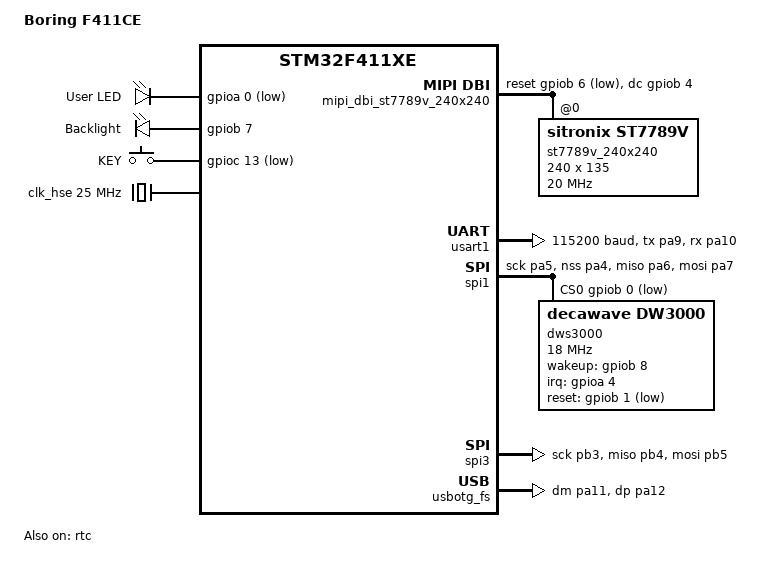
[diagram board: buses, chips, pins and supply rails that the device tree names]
/*
 * Copyright (c) 2020 Brian Bradley <brian.bradley.p@gmail.com>
 * Copyright (c) 2021 Kalyan Sriram <coder.kalyan@gmail.com>
 *
 * SPDX-License-Identifier: Apache-2.0
 */

/dts-v1/;
#include <st/f4/stm32f411Xe.dtsi>
#include <st/f4/stm32f411c(c-e)ux-pinctrl.dtsi>
#include <zephyr/dt-bindings/input/input-event-codes.h>
#include <zephyr/dt-bindings/mipi_dbi/mipi_dbi.h>
#include <zephyr/dt-bindings/display/panel.h>

/ {
	model = "Boring F411CE";
	compatible = "boring,boring_f411ce";

	chosen {
		// zephyr,console = &usart1;
		// zephyr,shell-uart = &usart1;
		zephyr,console = &cdc_acm_uart0;
		zephyr,shell-uart = &cdc_acm_uart0;
		zephyr,sram = &sram0;
		zephyr,flash = &flash0;
		zephyr,display = &st7789v_240x240;
		zephyr,code-partition = &slot0_partition;
	};

	leds {
		compatible = "gpio-leds";
		user_led: led {
			gpios = <&gpioa 0 GPIO_ACTIVE_LOW>;
			label = "User LED";
		};

		lcd_bl: led_backlight {
			gpios = <&gpiob 7 GPIO_ACTIVE_HIGH>;
			label = "Backlight";
		};
	};

	gpio_keys {
		compatible = "gpio-keys";
		user_button: button {
			label = "KEY";
			gpios = <&gpioc 13 (GPIO_ACTIVE_LOW | GPIO_PULL_UP)>;
			zephyr,code = <INPUT_KEY_0>;
		};
	};

	aliases {
		led0 = &user_led;
		sw0 = &user_button;
		volt-sensor0 = &vref;
		volt-sensor1 = &vbat;
		backlight = &lcd_bl;
	};

	mipi_dbi_st7789v_240x240 {
		compatible = "zephyr,mipi-dbi-spi";
		spi-dev = <&spi3>;
		dc-gpios = <&gpiob 4 GPIO_ACTIVE_HIGH>;
		reset-gpios = <&gpiob 6 GPIO_ACTIVE_LOW>;
		write-only;
		#address-cells = <1>;
		#size-cells = <0>;

		st7789v_240x240: st7789v@0 {
			compatible = "sitronix,st7789v";
			reg = <0>;
			mipi-max-frequency = <20000000>;

			width = <240>;
			height = <135>;
			x-offset = <40>;
			y-offset = <53>;

			vcom = <0x19>;
			gctrl = <0x35>;
			vrhs = <0x12>;
			vdvs = <0x20>;
			mdac = <0x77>;
			gamma = <0x00>;
			// colmod = <0x05>;
			pixel-format = <PANEL_PIXEL_FORMAT_RGB_565X>;
			lcm = <0x2c>;
			porch-param = [0c 0c 00 33 33];
			cmd2en-param = [5a 69 02 00];
			pwctrl1-param = [a4 a1];
			pvgam-param = [d0 04 0d 11 13 2b 3f 54 4c 18 0d 0b 1f 23];
			nvgam-param = [d0 04 0c 11 13 2c 3f 44 51 2f 1f 1f 20 23];
			ram-param = [00 F0];
			rgb-param = [40 02 14];
			mipi-mode = "MIPI_DBI_MODE_SPI_4WIRE";
			status = "okay";
			// compatible = "sitronix,st7789v";
			// mipi-max-frequency = <20000000>;
			// reg = <0>;
			// width = <240>;
			// height = <240>;
			// x-offset = <0>;
			// y-offset = <0>;
			// vcom = <0x19>;
			// gctrl = <0x35>;
			// vrhs = <0x12>;
			// vdvs = <0x20>;
			// mdac = <0x00>;
			// gamma = <0x01>;
			// colmod = <0x05>;
			// lcm = <0x2c>;
			// porch-param = [0c 0c 00 33 33];
			// cmd2en-param = [5a 69 02 01];
			// pwctrl1-param = [a4 a1];
			// pvgam-param = [D0 04 0D 11 13 2B 3F 54 4C 18 0D 0B 1F 23];
			// nvgam-param = [D0 04 0C 11 13 2C 3F 44 51 2F 1F 1F 20 23];
			// ram-param = [00 F0];
			// rgb-param = [CD 08 14];
			// mipi-mode = "MIPI_DBI_MODE_SPI_4WIRE";
		};
	};
};

&flash0 {
	partitions {
		compatible = "fixed-partitions";
		#address-cells = <1>;
		#size-cells = <1>;

		boot_partition: partition@0 {
			label = "mcuboot";
			reg = <0x00000000 DT_SIZE_K(64)>;
			read-only;
		};

		slot0_partition: partition@20000 {
			label = "image-0";
			reg = <0x00020000 DT_SIZE_K(128)>;
		};

		slot1_partition: partition@40000 {
			label = "image-1";
			reg = <0x00040000 DT_SIZE_K(128)>;
		};

		scratch_partition: partition@60000 {
			label = "image-scratch";
			reg = <0x00060000 DT_SIZE_K(128)>;
		};
	};
};

// &timers4 {
// 	status = "okay";

// 	pwm4: pwm {
// 		status = "okay";
// 		pinctrl-0 = <&tim4_ch1_pb6 &tim4_ch2_pb7>;
// 		pinctrl-names = "default";
// 	};
// };

&usart1 {
	pinctrl-0 = <&usart1_tx_pa9 &usart1_rx_pa10>;
	pinctrl-names = "default";
	status = "okay";
	current-speed = <115200>;
};

// &i2c1 {
// 	pinctrl-0 = <&i2c1_scl_pb8 &i2c1_sda_pb9>;
// 	pinctrl-names = "default";
// 	status = "okay";
// 	clock-frequency = <I2C_BITRATE_FAST>;
// };

&spi1 {
	pinctrl-0 = <&spi1_sck_pa5 &spi1_nss_pa4
		     &spi1_miso_pa6 &spi1_mosi_pa7>;
	pinctrl-names = "default";
	status = "okay";
	cs-gpios = <&gpiob 0 GPIO_ACTIVE_LOW>; /* D10 */

    dws3000@0 {
        status = "okay";
        compatible = "decawave,dw3000";
        /* Due to the wiring of the Nordic Development Boards and the DWS3000
	     * Arduino shield it is not possible to use more than 16MHz */
        spi-max-frequency = <18000000>;
        reg = <0>;
        wakeup-gpios  = <&gpiob 8 GPIO_ACTIVE_HIGH>; /* D9 */
        irq-gpios     = <&gpioa 4 GPIO_ACTIVE_HIGH>; /* D8 */
        reset-gpios   = <&gpiob 1 GPIO_ACTIVE_LOW>; /* D7 */
        // spi-pol-gpios = <&arduino_header  7 GPIO_ACTIVE_LOW>; /* D1 */
        // spi-pha-gpios = <&arduino_header  6 GPIO_ACTIVE_LOW>; /* D0 */
    };
};

&spi3 {
	pinctrl-0 = <&spi3_sck_pb3
		     &spi3_miso_pb4 &spi3_mosi_pb5>;
	// pinctrl-0 = <&spi3_sck_pb3 &spi3_nss_pa4
	// 	     &spi3_miso_pb4 &spi3_mosi_pb5>;
	// pinctrl-0 = <&spi3_sck_pb3 
	// 	      &spi3_mosi_pb5>;
	pinctrl-names = "default";
	status = "okay";
	cs-gpios = <&gpioa 15 GPIO_ACTIVE_LOW>; /* D10 */

};

&rtc {
	clocks = <&rcc STM32_CLOCK(APB1, 28)>,
		 <&rcc STM32_SRC_LSI RTC_SEL(2)>;
	status = "okay";
};

zephyr_udc0: &usbotg_fs {
	pinctrl-0 = <&usb_otg_fs_dm_pa11 &usb_otg_fs_dp_pa12>;
	pinctrl-names = "default";
	status = "okay";

	cdc_acm_uart0: cdc_acm_uart0 {
		status = "okay";
		compatible = "zephyr,cdc-acm-uart";
	};
};

// &adc1 {
// 	pinctrl-0 = <&adc1_in1_pa1>;
// 	pinctrl-names = "default";
// 	st,adc-clock-source = "SYNC";
// 	st,adc-prescaler = <2>;
// 	status = "okay";
// };

&clk_lsi {
	status = "okay";
};

&clk_hse {
	clock-frequency = <DT_FREQ_M(25)>;
	status = "okay";
};

&pll {
	div-m = <25>;
	mul-n = <192>;
	div-p = <2>;
	div-q = <4>;
	clocks = <&clk_hse>;
	status = "okay";
};

&rcc {
	clocks = <&pll>;
	clock-frequency = <DT_FREQ_M(96)>;
	ahb-prescaler = <1>;
	apb1-prescaler = <2>;
	apb2-prescaler = <1>;
};

// &vref {
// 	status = "okay";
// };

// &vbat {
// 	status = "okay";
// };
